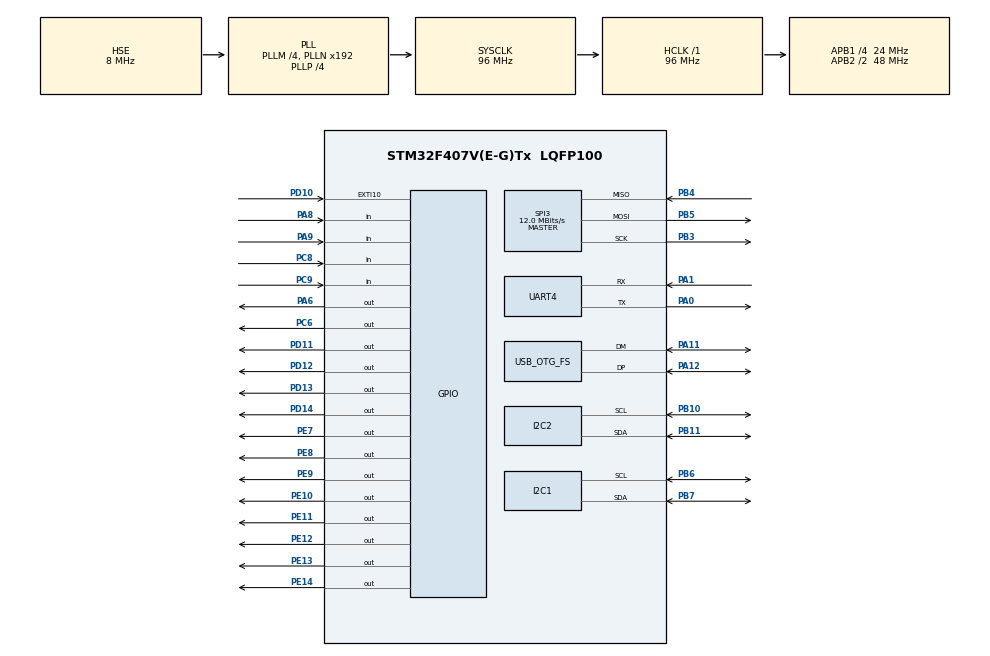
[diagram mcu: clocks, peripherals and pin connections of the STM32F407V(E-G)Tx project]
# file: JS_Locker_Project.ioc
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Mcu.Family=STM32F4
Mcu.Name=STM32F407V(E-G)Tx
Mcu.Package=LQFP100
NVIC.EXTI15_10_IRQn=true\:0\:0\:false\:false\:true\:true\:true
NVIC.OTG_FS_IRQn=true\:0\:0\:false\:false\:true\:false\:true
NVIC.PriorityGroup=NVIC_PRIORITYGROUP_4
NVIC.TIM3_IRQn=true\:0\:0\:false\:false\:true\:true\:true
NVIC.TIM4_IRQn=true\:0\:0\:false\:false\:true\:true\:true
PA0-WKUP.Mode=Asynchronous
PA0-WKUP.Signal=UART4_TX
PA1.Mode=Asynchronous
PA1.Signal=UART4_RX
PA11.GPIO_PuPd=GPIO_PULLDOWN
PA11.Mode=Host_Only
PA11.Signal=USB_OTG_FS_DM
PA12.GPIO_PuPd=GPIO_PULLDOWN
PA12.Mode=Host_Only
PA12.Signal=USB_OTG_FS_DP
PA6.GPIO_PuPd=GPIO_PULLUP
PA6.Signal=GPIO_Output
PA8.Signal=GPIO_Input
PA9.Signal=GPIO_Input
PB10.Mode=I2C
PB10.Signal=I2C2_SCL
PB11.Mode=I2C
PB11.Signal=I2C2_SDA
PB3.Mode=Full_Duplex_Master
PB3.Signal=SPI3_SCK
PB4.Mode=Full_Duplex_Master
PB4.Signal=SPI3_MISO
PB5.Mode=Full_Duplex_Master
PB5.Signal=SPI3_MOSI
PB6.Mode=I2C
PB6.Signal=I2C1_SCL
PB7.Mode=I2C
PB7.Signal=I2C1_SDA
PC14-OSC32_IN.Mode=LSE-External-Oscillator
PC14-OSC32_IN.Signal=RCC_OSC32_IN
PC15-OSC32_OUT.Mode=LSE-External-Oscillator
PC15-OSC32_OUT.Signal=RCC_OSC32_OUT
PC6.Signal=GPIO_Output
PC8.Signal=GPIO_Input
PC9.Signal=GPIO_Input
PD10.GPIO_ModeDefaultEXTI=GPIO_MODE_IT_FALLING
PD10.Signal=GPXTI10
PD11.Signal=GPIO_Output
PD12.Signal=GPIO_Output
PD13.Signal=GPIO_Output
PD14.Signal=GPIO_Output
PE10.Signal=GPIO_Output
PE11.Signal=GPIO_Output
PE12.Signal=GPIO_Output
PE13.Signal=GPIO_Output
PE14.Signal=GPIO_Output
PE7.Signal=GPIO_Output
PE8.Signal=GPIO_Output
PE9.Signal=GPIO_Output
PH0-OSC_IN.Mode=HSE-External-Oscillator
PH0-OSC_IN.Signal=RCC_OSC_IN
PH1-OSC_OUT.Mode=HSE-External-Oscillator
PH1-OSC_OUT.Signal=RCC_OSC_OUT
ProjectManager.HeapSize=0x2000
ProjectManager.StackSize=0x2000
ProjectManager.TargetToolchain=STM32CubeIDE
RCC.48MHZClocksFreq_Value=48000000
RCC.AHBFreq_Value=96000000
RCC.APB1CLKDivider=RCC_HCLK_DIV4
RCC.APB1Freq_Value=24000000
RCC.APB1TimFreq_Value=48000000
RCC.APB2CLKDivider=RCC_HCLK_DIV2
RCC.APB2Freq_Value=48000000
RCC.APB2TimFreq_Value=96000000
RCC.CortexFreq_Value=96000000
RCC.EnbaleCSS=true
RCC.HCLKFreq_Value=96000000
RCC.HSE_VALUE=8000000
RCC.HSI_VALUE=16000000
RCC.PLLM=4
RCC.PLLP=RCC_PLLP_DIV4
RCC.PLLQ=8
RCC.SYSCLKFreq_VALUE=96000000
RCC.SYSCLKSource=RCC_SYSCLKSOURCE_PLLCLK
RCC.VCOOutputFreq_Value=384000000
SPI3.CalculateBaudRate=12.0 MBits/s
SPI3.Direction=SPI_DIRECTION_2LINES
SPI3.Mode=SPI_MODE_MASTER
SPI3.VirtualType=VM_MASTER
TIM3.Channel-Output\ Compare1\ No\ Output=TIM_CHANNEL_1
TIM3.OCMode_1=TIM_OCMODE_ACTIVE
TIM3.Period=63999
TIM3.Prescaler=1499
TIM3.TIM_MasterOutputTrigger=TIM_TRGO_UPDATE
TIM4.Channel-Output\ Compare1\ No\ Output=TIM_CHANNEL_1
TIM4.OCMode_1=TIM_OCMODE_ACTIVE
TIM4.Period=63999
TIM4.Prescaler=1499
TIM4.TIM_MasterOutputTrigger=TIM_TRGO_UPDATE
UART4.VirtualMode=Asynchronous
USB_HOST.USBH_HandleTypeDef-HID_FS=hUsbHostFS
USB_HOST.VirtualModeFS=Hid
USB_OTG_FS.VirtualMode=Host_Only
USB_OTG_FS.phy_itface=HCD_PHY_EMBEDDED
VP_RNG_VS_RNG.Mode=RNG_Activate
VP_RTC_VS_RTC_Activate.Mode=RTC_Enabled
VP_TIM3_VS_ClockSourceINT.Mode=Internal
VP_TIM3_VS_no_output1.Mode=Output Compare1 No Output
VP_TIM4_VS_ClockSourceINT.Mode=Internal
VP_TIM4_VS_no_output1.Mode=Output Compare1 No Output
VP_USB_HOST_VS_USB_HOST_HID_FS.Mode=HID_FS
board=custom

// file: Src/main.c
/* USER CODE BEGIN Header */
/**
 ******************************************************************************
 * @file           : main.c
 * @brief          : Main program body
 ******************************************************************************
 * @attention
 *
 * <h2><center>&copy; Copyright (c) 2019 STMicroelectronics.
 * All rights reserved.</center></h2>
 *
 * This software component is licensed by ST under Ultimate Liberty license
 * SLA0044, the "License"; You may not use this file except in compliance with
 * the License. You may obtain a copy of the License at:
 *                             www.st.com/SLA0044
 *
 ******************************************************************************
 */
/* USER CODE END Header */

#include "main.h"
#include "usb_host.h"

/* USER CODE BEGIN Includes */
#include "main.h"
#include "progui_fsm.h"
#include "lcd.h"
#include "keypad.h"
#include "flash/w25qxx.h"
#include "lcd_predefs.h"
#include "states.h"
#include "timer_iii.h"
#include "alarm.h"
#include <stdio.h>
#include <stdbool.h>
#include <usb_host.h>
#include <usbh_hid.h>
#include <stdarg.h>
/* USER CODE END Includes */

/* USER CODE BEGIN PD */
#define DEBUG
/* USER CODE END PD */

/* USER CODE BEGIN PM */
// LCD Pinmaps
PortPin_Map LCD_RS = { .GPIOx = GPIOE, .GPIO_Pin_x = GPIO_PIN_7 };
PortPin_Map LCD_RW = { .GPIOx = GPIOE, .GPIO_Pin_x = GPIO_PIN_8 };
PortPin_Map LCD_E = { .GPIOx = GPIOE, .GPIO_Pin_x = GPIO_PIN_9 };
PortPin_Map LCD_D4 = { .GPIOx = GPIOE, .GPIO_Pin_x = GPIO_PIN_10 };
PortPin_Map LCD_D5 = { .GPIOx = GPIOE, .GPIO_Pin_x = GPIO_PIN_11 };
PortPin_Map LCD_D6 = { .GPIOx = GPIOE, .GPIO_Pin_x = GPIO_PIN_12 };
PortPin_Map LCD_D7 = { .GPIOx = GPIOE, .GPIO_Pin_x = GPIO_PIN_13 };
// Keypad Pinmaps
PortPin_Map KPD_ROW1 = { .GPIOx = GPIOA, .GPIO_Pin_x = GPIO_PIN_9 };
PortPin_Map KPD_ROW2 = { .GPIOx = GPIOA, .GPIO_Pin_x = GPIO_PIN_8 };
PortPin_Map KPD_ROW3 = { .GPIOx = GPIOC, .GPIO_Pin_x = GPIO_PIN_9 };
PortPin_Map KPD_ROW4 = { .GPIOx = GPIOC, .GPIO_Pin_x = GPIO_PIN_8 };
PortPin_Map KPD_COL1 = { .GPIOx = GPIOD, .GPIO_Pin_x = GPIO_PIN_14 };
PortPin_Map KPD_COL2 = { .GPIOx = GPIOD, .GPIO_Pin_x = GPIO_PIN_13 };
PortPin_Map KPD_COL3 = { .GPIOx = GPIOD, .GPIO_Pin_x = GPIO_PIN_12 };
PortPin_Map KPD_COL4 = { .GPIOx = GPIOD, .GPIO_Pin_x = GPIO_PIN_11 };
/* USER CODE END PM */

I2C_HandleTypeDef hi2c1;
I2C_HandleTypeDef hi2c2;

RNG_HandleTypeDef hrng;

RTC_HandleTypeDef hrtc;

SPI_HandleTypeDef hspi3;

TIM_HandleTypeDef htim3;
TIM_HandleTypeDef htim4;

UART_HandleTypeDef huart4;

/* USER CODE BEGIN PV */
enum SFSM System_FSM = SYS_DEINIT;
/* USER CODE END PV */

void SystemClock_Config(void);
static void MX_GPIO_Init(void);
static void MX_I2C1_Init(void);
static void MX_I2C2_Init(void);
static void MX_RNG_Init(void);
static void MX_RTC_Init(void);
static void MX_UART4_Init(void);
static void MX_SPI3_Init(void);
static void MX_TIM3_Init(void);
static void MX_TIM4_Init(void);
void MX_USB_HOST_Process(void);

/* USER CODE BEGIN PFP */
void Main_LCD_Init(void);
/* USER CODE END PFP */

/* USER CODE BEGIN 0 */

static int32_t uart_length = 0;
uint8_t uart_tx_buffer[128];
extern HID_MOUSE_Info_TypeDef mouse_info;
extern LCD_TypeDef *global_lcd;
/* USER CODE END 0 */

int main(void)
{

  /* MCU Configuration--------------------------------------------------------*/

  /* Reset of all peripherals, Initializes the Flash interface and the Systick. */
  HAL_Init();

  /* Configure the system clock */
  SystemClock_Config();

  /* Initialize all configured peripherals */
  MX_GPIO_Init();
  MX_I2C1_Init();
  MX_I2C2_Init();
  MX_RNG_Init();
  MX_RTC_Init();
  MX_UART4_Init();
  MX_USB_HOST_Init();
  MX_SPI3_Init();
  MX_TIM3_Init();
  MX_TIM4_Init();
  /* USER CODE BEGIN 2 */
	// Turn off LED D2. D2 means a clock failure.
	HAL_GPIO_WritePin(GPIOA, GPIO_PIN_6, GPIO_PIN_SET);
	Main_LCD_Init();
	i2c_scanCabinets();
	System_FSM = SYS_IDLE;
	LCD_begin(global_lcd);
	scr_idle();
	start_monitor();

	keypad_init(KPD_ROW1, KPD_ROW2, KPD_ROW3, KPD_ROW4, KPD_COL1, KPD_COL2,
			KPD_COL3, KPD_COL4);

	HAL_DBGMCU_EnableDBGStopMode();
	W25qxx_Init();
  /* USER CODE END 2 */

  /* Infinite loop */
	while (1) {
    MX_USB_HOST_Process();

    /* USER CODE BEGIN 3 */
		switch (System_FSM) {
		case SYS_IDLE:
			state_sys_idle();
			break;
		case SYS_IDLE_PWDWAIT:
			state_sys_auth();
			break;
		case SYS_IDLEAUTH_WRONGPWD:
			state_idleauth_wrongpwd();
			break;
		case SYS_MGMT:
			state_management();
			break;
		case SYS_OPEN_ALL_WAIT:
			state_openall();
			break;
		case SYS_OPEN_ALL_DONE:
			state_openall_done();
			break;
		case SYS_SETTINGS:
			state_settings();
			break;
		case SYS_RECONF:
			state_hwreconf();
			break;
		case SYS_RECONF_DETECT:
			state_hwreconf_detect();
			break;
		case SYS_RECONF_DONE:
			state_hwreconf_done();
			break;
		case SYS_RESET_PWD:
			state_mgmt_new_password();
			break;
		case SYS_CHOOSE_OP:
			state_choose_kbop();
			break;
		case SYS_DROP_PKG:
			state_pkg_drop();
			break;
		case SYS_DELI_WAIT_CHOICE:
			state_deli_wait_choice();
			break;
		case SYS_DELI_OKFAIL:
			state_deli_query();
			break;
		case SYS_DELI_IF_REPEAT:
			state_deli_ifrepeat();
			break;
		case SYS_ALARM:
			state_alarm();
			break;
		default:
			System_FSM = SYS_IDLE;
		}
	}
  /* USER CODE END 3 */
}

void SystemClock_Config(void)
{
  RCC_OscInitTypeDef RCC_OscInitStruct = {0};
  RCC_ClkInitTypeDef RCC_ClkInitStruct = {0};
  RCC_PeriphCLKInitTypeDef PeriphClkInitStruct = {0};

  /** Configure the main internal regulator output voltage
  */
  __HAL_RCC_PWR_CLK_ENABLE();
  __HAL_PWR_VOLTAGESCALING_CONFIG(PWR_REGULATOR_VOLTAGE_SCALE1);
  /** Initializes the CPU, AHB and APB busses clocks
  */
  RCC_OscInitStruct.OscillatorType = RCC_OSCILLATORTYPE_LSI|RCC_OSCILLATORTYPE_HSE;
  RCC_OscInitStruct.HSEState = RCC_HSE_ON;
  RCC_OscInitStruct.LSIState = RCC_LSI_ON;
  RCC_OscInitStruct.PLL.PLLState = RCC_PLL_ON;
  RCC_OscInitStruct.PLL.PLLSource = RCC_PLLSOURCE_HSE;
  RCC_OscInitStruct.PLL.PLLM = 4;
  RCC_OscInitStruct.PLL.PLLN = 192;
  RCC_OscInitStruct.PLL.PLLP = RCC_PLLP_DIV4;
  RCC_OscInitStruct.PLL.PLLQ = 8;
  if (HAL_RCC_OscConfig(&RCC_OscInitStruct) != HAL_OK)
  {
    Error_Handler();
  }
  /** Initializes the CPU, AHB and APB busses clocks
  */
  RCC_ClkInitStruct.ClockType = RCC_CLOCKTYPE_HCLK|RCC_CLOCKTYPE_SYSCLK
                              |RCC_CLOCKTYPE_PCLK1|RCC_CLOCKTYPE_PCLK2;
  RCC_ClkInitStruct.SYSCLKSource = RCC_SYSCLKSOURCE_PLLCLK;
  RCC_ClkInitStruct.AHBCLKDivider = RCC_SYSCLK_DIV1;
  RCC_ClkInitStruct.APB1CLKDivider = RCC_HCLK_DIV4;
  RCC_ClkInitStruct.APB2CLKDivider = RCC_HCLK_DIV2;

  if (HAL_RCC_ClockConfig(&RCC_ClkInitStruct, FLASH_LATENCY_3) != HAL_OK)
  {
    Error_Handler();
  }
  PeriphClkInitStruct.PeriphClockSelection = RCC_PERIPHCLK_RTC;
  PeriphClkInitStruct.RTCClockSelection = RCC_RTCCLKSOURCE_LSI;
  if (HAL_RCCEx_PeriphCLKConfig(&PeriphClkInitStruct) != HAL_OK)
  {
    Error_Handler();
  }
  /** Enables the Clock Security System
  */
  HAL_RCC_EnableCSS();
}

static void MX_I2C1_Init(void)
{

  hi2c1.Instance = I2C1;
  hi2c1.Init.ClockSpeed = 100000;
  hi2c1.Init.DutyCycle = I2C_DUTYCYCLE_2;
  hi2c1.Init.OwnAddress1 = 0;
  hi2c1.Init.AddressingMode = I2C_ADDRESSINGMODE_7BIT;
  hi2c1.Init.DualAddressMode = I2C_DUALADDRESS_DISABLE;
  hi2c1.Init.OwnAddress2 = 0;
  hi2c1.Init.GeneralCallMode = I2C_GENERALCALL_DISABLE;
  hi2c1.Init.NoStretchMode = I2C_NOSTRETCH_DISABLE;
  if (HAL_I2C_Init(&hi2c1) != HAL_OK)
  {
    Error_Handler();
  }

}

static void MX_I2C2_Init(void)
{

  hi2c2.Instance = I2C2;
  hi2c2.Init.ClockSpeed = 100000;
  hi2c2.Init.DutyCycle = I2C_DUTYCYCLE_2;
  hi2c2.Init.OwnAddress1 = 0;
  hi2c2.Init.AddressingMode = I2C_ADDRESSINGMODE_7BIT;
  hi2c2.Init.DualAddressMode = I2C_DUALADDRESS_DISABLE;
  hi2c2.Init.OwnAddress2 = 0;
  hi2c2.Init.GeneralCallMode = I2C_GENERALCALL_DISABLE;
  hi2c2.Init.NoStretchMode = I2C_NOSTRETCH_DISABLE;
  if (HAL_I2C_Init(&hi2c2) != HAL_OK)
  {
    Error_Handler();
  }

}

static void MX_RNG_Init(void)
{

  hrng.Instance = RNG;
  if (HAL_RNG_Init(&hrng) != HAL_OK)
  {
    Error_Handler();
  }

}

static void MX_RTC_Init(void)
{

  /** Initialize RTC Only
  */
  hrtc.Instance = RTC;
  hrtc.Init.HourFormat = RTC_HOURFORMAT_24;
  hrtc.Init.AsynchPrediv = 127;
  hrtc.Init.SynchPrediv = 255;
  hrtc.Init.OutPut = RTC_OUTPUT_DISABLE;
  hrtc.Init.OutPutPolarity = RTC_OUTPUT_POLARITY_HIGH;
  hrtc.Init.OutPutType = RTC_OUTPUT_TYPE_OPENDRAIN;
  if (HAL_RTC_Init(&hrtc) != HAL_OK)
  {
    Error_Handler();
  }

}

static void MX_SPI3_Init(void)
{

  /* SPI3 parameter configuration*/
  hspi3.Instance = SPI3;
  hspi3.Init.Mode = SPI_MODE_MASTER;
  hspi3.Init.Direction = SPI_DIRECTION_2LINES;
  hspi3.Init.DataSize = SPI_DATASIZE_8BIT;
  hspi3.Init.CLKPolarity = SPI_POLARITY_LOW;
  hspi3.Init.CLKPhase = SPI_PHASE_1EDGE;
  hspi3.Init.NSS = SPI_NSS_SOFT;
  hspi3.Init.BaudRatePrescaler = SPI_BAUDRATEPRESCALER_2;
  hspi3.Init.FirstBit = SPI_FIRSTBIT_MSB;
  hspi3.Init.TIMode = SPI_TIMODE_DISABLE;
  hspi3.Init.CRCCalculation = SPI_CRCCALCULATION_DISABLE;
  hspi3.Init.CRCPolynomial = 10;
  if (HAL_SPI_Init(&hspi3) != HAL_OK)
  {
    Error_Handler();
  }

}

static void MX_TIM3_Init(void)
{

  TIM_ClockConfigTypeDef sClockSourceConfig = {0};
  TIM_MasterConfigTypeDef sMasterConfig = {0};
  TIM_OC_InitTypeDef sConfigOC = {0};

  htim3.Instance = TIM3;
  htim3.Init.Prescaler = 1499;
  htim3.Init.CounterMode = TIM_COUNTERMODE_UP;
  htim3.Init.Period = 63999;
  htim3.Init.ClockDivision = TIM_CLOCKDIVISION_DIV1;
  htim3.Init.AutoReloadPreload = TIM_AUTORELOAD_PRELOAD_DISABLE;
  if (HAL_TIM_Base_Init(&htim3) != HAL_OK)
  {
    Error_Handler();
  }
  sClockSourceConfig.ClockSource = TIM_CLOCKSOURCE_INTERNAL;
  if (HAL_TIM_ConfigClockSource(&htim3, &sClockSourceConfig) != HAL_OK)
  {
    Error_Handler();
  }
  if (HAL_TIM_OC_Init(&htim3) != HAL_OK)
  {
    Error_Handler();
  }
  sMasterConfig.MasterOutputTrigger = TIM_TRGO_UPDATE;
  sMasterConfig.MasterSlaveMode = TIM_MASTERSLAVEMODE_DISABLE;
  if (HAL_TIMEx_MasterConfigSynchronization(&htim3, &sMasterConfig) != HAL_OK)
  {
    Error_Handler();
  }
  sConfigOC.OCMode = TIM_OCMODE_ACTIVE;
  sConfigOC.Pulse = 0;
  sConfigOC.OCPolarity = TIM_OCPOLARITY_HIGH;
  sConfigOC.OCFastMode = TIM_OCFAST_DISABLE;
  if (HAL_TIM_OC_ConfigChannel(&htim3, &sConfigOC, TIM_CHANNEL_1) != HAL_OK)
  {
    Error_Handler();
  }
  /* USER CODE BEGIN TIM3_Init 2 */
  __TIM3_CLK_DISABLE();
  /* USER CODE END TIM3_Init 2 */

}

static void MX_TIM4_Init(void)
{

  TIM_ClockConfigTypeDef sClockSourceConfig = {0};
  TIM_MasterConfigTypeDef sMasterConfig = {0};
  TIM_OC_InitTypeDef sConfigOC = {0};

  htim4.Instance = TIM4;
  htim4.Init.Prescaler = 1499;
  htim4.Init.CounterMode = TIM_COUNTERMODE_UP;
  htim4.Init.Period = 63999;
  htim4.Init.ClockDivision = TIM_CLOCKDIVISION_DIV1;
  htim4.Init.AutoReloadPreload = TIM_AUTORELOAD_PRELOAD_DISABLE;
  if (HAL_TIM_Base_Init(&htim4) != HAL_OK)
  {
    Error_Handler();
  }
  sClockSourceConfig.ClockSource = TIM_CLOCKSOURCE_INTERNAL;
  if (HAL_TIM_ConfigClockSource(&htim4, &sClockSourceConfig) != HAL_OK)
  {
    Error_Handler();
  }
  if (HAL_TIM_OC_Init(&htim4) != HAL_OK)
  {
    Error_Handler();
  }
  sMasterConfig.MasterOutputTrigger = TIM_TRGO_UPDATE;
  sMasterConfig.MasterSlaveMode = TIM_MASTERSLAVEMODE_DISABLE;
  if (HAL_TIMEx_MasterConfigSynchronization(&htim4, &sMasterConfig) != HAL_OK)
  {
    Error_Handler();
  }
  sConfigOC.OCMode = TIM_OCMODE_ACTIVE;
  sConfigOC.Pulse = 0;
  sConfigOC.OCPolarity = TIM_OCPOLARITY_HIGH;
  sConfigOC.OCFastMode = TIM_OCFAST_DISABLE;
  if (HAL_TIM_OC_ConfigChannel(&htim4, &sConfigOC, TIM_CHANNEL_1) != HAL_OK)
  {
    Error_Handler();
  }

}

static void MX_UART4_Init(void)
{

  huart4.Instance = UART4;
  huart4.Init.BaudRate = 115200;
  huart4.Init.WordLength = UART_WORDLENGTH_8B;
  huart4.Init.StopBits = UART_STOPBITS_1;
  huart4.Init.Parity = UART_PARITY_NONE;
  huart4.Init.Mode = UART_MODE_TX_RX;
  huart4.Init.HwFlowCtl = UART_HWCONTROL_NONE;
  huart4.Init.OverSampling = UART_OVERSAMPLING_16;
  if (HAL_UART_Init(&huart4) != HAL_OK)
  {
    Error_Handler();
  }

}

static void MX_GPIO_Init(void)
{
  GPIO_InitTypeDef GPIO_InitStruct = {0};

  /* GPIO Ports Clock Enable */
  __HAL_RCC_GPIOC_CLK_ENABLE();
  __HAL_RCC_GPIOH_CLK_ENABLE();
  __HAL_RCC_GPIOA_CLK_ENABLE();
  __HAL_RCC_GPIOE_CLK_ENABLE();
  __HAL_RCC_GPIOB_CLK_ENABLE();
  __HAL_RCC_GPIOD_CLK_ENABLE();

  /*Configure GPIO pin Output Level */
  HAL_GPIO_WritePin(GPIOA, GPIO_PIN_6, GPIO_PIN_RESET);

  /*Configure GPIO pin Output Level */
  HAL_GPIO_WritePin(GPIOE, GPIO_PIN_7|GPIO_PIN_8|GPIO_PIN_9|GPIO_PIN_10
                          |GPIO_PIN_11|GPIO_PIN_12|GPIO_PIN_13|GPIO_PIN_14, GPIO_PIN_RESET);

  /*Configure GPIO pin Output Level */
  HAL_GPIO_WritePin(GPIOD, GPIO_PIN_11|GPIO_PIN_12|GPIO_PIN_13|GPIO_PIN_14, GPIO_PIN_RESET);

  /*Configure GPIO pin Output Level */
  HAL_GPIO_WritePin(GPIOC, GPIO_PIN_6, GPIO_PIN_RESET);

  /*Configure GPIO pin : PA6 */
  GPIO_InitStruct.Pin = GPIO_PIN_6;
  GPIO_InitStruct.Mode = GPIO_MODE_OUTPUT_PP;
  GPIO_InitStruct.Pull = GPIO_PULLUP;
  GPIO_InitStruct.Speed = GPIO_SPEED_FREQ_LOW;
  HAL_GPIO_Init(GPIOA, &GPIO_InitStruct);

  /*Configure GPIO pins : PE7 PE8 PE9 PE10
                           PE11 PE12 PE13 PE14 */
  GPIO_InitStruct.Pin = GPIO_PIN_7|GPIO_PIN_8|GPIO_PIN_9|GPIO_PIN_10
                          |GPIO_PIN_11|GPIO_PIN_12|GPIO_PIN_13|GPIO_PIN_14;
  GPIO_InitStruct.Mode = GPIO_MODE_OUTPUT_PP;
  GPIO_InitStruct.Pull = GPIO_NOPULL;
  GPIO_InitStruct.Speed = GPIO_SPEED_FREQ_LOW;
  HAL_GPIO_Init(GPIOE, &GPIO_InitStruct);

  /*Configure GPIO pin : PD10 */
  GPIO_InitStruct.Pin = GPIO_PIN_10;
  GPIO_InitStruct.Mode = GPIO_MODE_IT_FALLING;
  GPIO_InitStruct.Pull = GPIO_NOPULL;
  HAL_GPIO_Init(GPIOD, &GPIO_InitStruct);

  /*Configure GPIO pins : PD11 PD12 PD13 PD14 */
  GPIO_InitStruct.Pin = GPIO_PIN_11|GPIO_PIN_12|GPIO_PIN_13|GPIO_PIN_14;
  GPIO_InitStruct.Mode = GPIO_MODE_OUTPUT_PP;
  GPIO_InitStruct.Pull = GPIO_NOPULL;
  GPIO_InitStruct.Speed = GPIO_SPEED_FREQ_LOW;
  HAL_GPIO_Init(GPIOD, &GPIO_InitStruct);

  /*Configure GPIO pin : PC6 */
  GPIO_InitStruct.Pin = GPIO_PIN_6;
  GPIO_InitStruct.Mode = GPIO_MODE_OUTPUT_PP;
  GPIO_InitStruct.Pull = GPIO_NOPULL;
  GPIO_InitStruct.Speed = GPIO_SPEED_FREQ_LOW;
  HAL_GPIO_Init(GPIOC, &GPIO_InitStruct);

  /*Configure GPIO pins : PC8 PC9 */
  GPIO_InitStruct.Pin = GPIO_PIN_8|GPIO_PIN_9;
  GPIO_InitStruct.Mode = GPIO_MODE_INPUT;
  GPIO_InitStruct.Pull = GPIO_NOPULL;
  HAL_GPIO_Init(GPIOC, &GPIO_InitStruct);

  /*Configure GPIO pins : PA8 PA9 */
  GPIO_InitStruct.Pin = GPIO_PIN_8|GPIO_PIN_9;
  GPIO_InitStruct.Mode = GPIO_MODE_INPUT;
  GPIO_InitStruct.Pull = GPIO_NOPULL;
  HAL_GPIO_Init(GPIOA, &GPIO_InitStruct);

  /* EXTI interrupt init*/
  HAL_NVIC_SetPriority(EXTI15_10_IRQn, 0, 0);
  HAL_NVIC_EnableIRQ(EXTI15_10_IRQn);

}

/* USER CODE BEGIN 4 */
void USBH_HID_EventCallback(USBH_HandleTypeDef *phost) {
	uart_length = sprintf(uart_tx_buffer, (uint8_t*) "Event callback triggered");
	HAL_UART_Transmit(&huart4, uart_tx_buffer, (uint16_t) uart_length, 1000);
	HID_KEYBD_Info_TypeDef *keybd_info;
	uint8_t keycode;
	HID_HandleTypeDef *HID_Handle =
			(HID_HandleTypeDef*) phost->pActiveClass->pData;
	if (HID_Handle->Init == USBH_HID_KeybdInit) {
		keybd_info = USBH_HID_GetKeybdInfo(phost);
		keycode = USBH_HID_GetASCIICode(keybd_info);
		uart_length = sprintf(uart_tx_buffer, (uint8_t*) "Key Pressed: 0x%x\n", keycode);
		HAL_UART_Transmit(&huart4, uart_tx_buffer, (uint16_t) uart_length,
				1000);
	}
}

/*Clock Failure detection*/
void HAL_RCC_CSSCallback(void) {
	HAL_GPIO_WritePin(GPIOA, GPIO_PIN_6, GPIO_PIN_RESET);
	printf("CLOCK STALLED");
	return;
}

/* External GPIO Interrupt. This should be keyboard. */
void HAL_GPIO_EXTI_Callback(uint16_t GPIO_Pin) {
	// Some software debouncing.
	/* Disable gpio_exti for a while */
	/* So no bouncing interrupt will be called. */
	HAL_NVIC_DisableIRQ(EXTI15_10_IRQn);
	for(int i = 0; i<16000; i+=1){}
	HAL_NVIC_EnableIRQ(EXTI15_10_IRQn);
	cancelTimer(SHDN_BKLT);
	LCD_BkltOn();

	printf("[GPIO_EXTI] Triggered.\n");
	uart_length = sprintf(uart_tx_buffer, (uint8_t*) "[GPIO_EXTI] GPIO_Pin=%d triggered.\n", GPIO_Pin);
	HAL_UART_Transmit(&huart4, uart_tx_buffer, (uint16_t)uart_length, 1000);
	if (GPIO_Pin == GPIO_PIN_10) {
		switch (System_FSM) {
		case SYS_IDLE:
			keyCache = KEY_FAKE;
			keyAvailable = false;
			// System_FSM = SYS_IDLE_PWDWAIT;
			System_FSM = SYS_CHOOSE_OP;
			return;
			break;
		case SYS_CHOOSE_OP:
			readOneKey();
			System_FSM = SYS_CHOOSE_OP_CALLBACK;
			break;
		case SYS_IDLE_PWDWAIT_KEYREADY:
			readOneKey();
			System_FSM = SYS_IDLE_PWDWAIT_CALLBACK;
			break;
		case SYS_IDLEAUTH_WRONGPWD:
			readOneKey();
			System_FSM = SYS_IDLEAUTH_WRONGPWD_CALLBACK;
			break;
		case SYS_MGMT:
			readOneKey();
			System_FSM = SYS_MGMT_CALLBACK;
			break;
		case SYS_SETTINGS:
			readOneKey();
			System_FSM = SYS_SETTINGS_CALLBACK;
			break;
		case SYS_RECONF:
			readOneKey();
			System_FSM = SYS_RECONF_CALLBACK;
			break;
		case SYS_RESET_PWD:
			readOneKey();
			System_FSM = SYS_RESET_PWD_CALLBACK;
			break;
		case SYS_DROP_PKG:
			readOneKey();
			System_FSM = SYS_DROP_PKG_CALLBACK;
			break;
		case SYS_DELI_OKFAIL:
			readOneKey();
			System_FSM = SYS_DELI_OKFAIL_CALLBACK;
			break;
		case SYS_DELI_IF_REPEAT:
			readOneKey();
			System_FSM = SYS_DELI_IF_REPEAT_CALLBACK;
			break;
		case SYS_ALARM:
			readOneKey();
			System_FSM = SYS_ALARM_CALLBACK;
			break;
		case SYS_IDLE_PWDWAIT_CALLBACK:
		case SYS_IDLEAUTH_WRONGPWD_CALLBACK:
		case SYS_MGMT_CALLBACK:
		case SYS_SETTINGS_CALLBACK:
		case SYS_RECONF_CALLBACK:
		case SYS_RESET_PWD_CALLBACK:
			return;
			break;
		case SYS_RECONF_DONE:
		case SYS_OPEN_ALL_DONE:
			keyAvailable = true;
			keyCache = KEY_FAKE;
			return;
			break;
		default:
			/* A key is pressed when not expected to. */
			/* Reset keyAvailable so keypad does not stuck. */
			keyAvailable = false;
			break;
		}

	}
}

/* Redirect the printf() output. */
int fputc(int c, FILE *f) {
	HAL_UART_Transmit(&huart4, (uint8_t *) &c, 1, 1000);
	return c;
}

int putchar(int c) {
	HAL_UART_Transmit(&huart4, (uint8_t *) &c, 1, 1000);
	return c;
}

int putc(int c, FILE *f) {
	HAL_UART_Transmit(&huart4, (uint8_t *) &c, 1, 1000);
	return c;
}

int puts(const char *c) {
	uart_length = sprintf(uart_tx_buffer, c);
	HAL_UART_Transmit(&huart4, uart_tx_buffer, (uint16_t) uart_length, 1000);
	return *c;
}

void debug_print(char* fmt, ...) {
	va_list argptr;
	va_start(argptr, fmt);
	uart_length = sprintf(uart_tx_buffer, fmt, &argptr);
	va_end(argptr);
	HAL_UART_Transmit(&huart4, uart_tx_buffer, (uint16_t) uart_length, 1000);
}

void Main_LCD_Init(void) {
	global_lcd = LCD_init(&LCD_RS, &LCD_RW, &LCD_E, &LCD_D4, &LCD_D5, &LCD_D6,
			&LCD_D7);
	if (global_lcd) {
		printf("[LCD] LCD Init successful.\n");
	} else {
		printf("[LCD] LCD Init returned NULL.\n");
	}
}

void send_serial(char* msg) {
	uart_length = sprintf(uart_tx_buffer, msg);
	HAL_UART_Transmit(&huart4, uart_tx_buffer, (uint16_t) uart_length, 1000);
}
/* USER CODE END 4 */

void Error_Handler(void)
{
}

/************************ (C) COPYRIGHT STMicroelectronics *****END OF FILE****/
